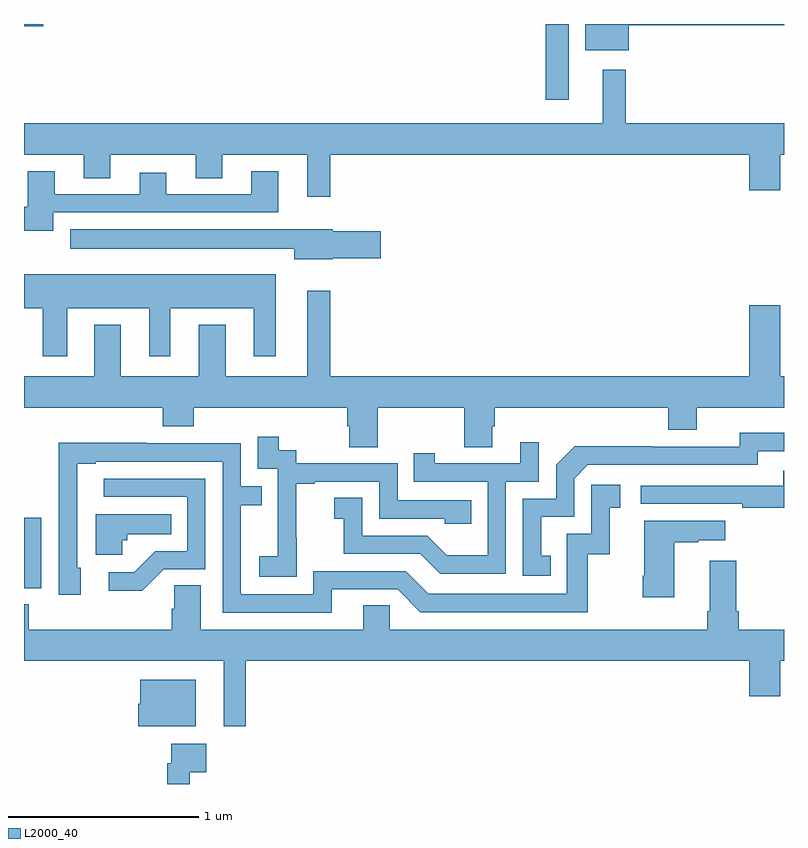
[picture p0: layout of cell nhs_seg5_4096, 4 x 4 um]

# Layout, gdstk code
import gdstk
lib = gdstk.Library(unit=1e-6, precision=1e-09)
def R(c, l, rs):  # rectangles x0, y0, x1, y1
    for r in rs: c.add(gdstk.rectangle(r[:2], r[2:], *l))
def P(c, l, *ps):  # polygons
    for p in ps: c.add(gdstk.Polygon(p, *l))
L2000_40 = (2000, 40)

nhs_seg5_4096 = lib.new_cell('nhs_seg5_4096')
R(nhs_seg5_4096, L2000_40, [(353,835.83,353.091,836.2), (355.746,838.401,355.867,838.799), (353,838.787,353.101,838.799)])
P(nhs_seg5_4096, L2000_40, [(356.182,838.792),(357,838.792),(357,838.799),(355.955,838.799),(355.955,838.661),(356.182,838.661)],
  [(354.613,838.112),(356.816,838.112),(356.816,837.924),(356.98,837.924),(356.98,838.112),(357,838.112),(357,838.276),(356.167,838.276),(356.167,838.558),(356.045,838.558),(356.045,838.276),(353,838.276),(353,838.112),(353.315,838.112),(353.315,837.988),(353.455,837.988),(353.455,838.112),(353.903,838.112),(353.903,837.988),(354.043,837.988),(354.043,838.112),(354.491,838.112),(354.491,837.891),(354.613,837.891)],
  [(353.155,837.807),(354.337,837.807),(354.337,838.024),(354.197,838.024),(354.197,837.903),(353.749,837.903),(353.749,838.015),(353.609,838.015),(353.609,837.903),(353.161,837.903),(353.161,838.024),(353.021,838.024),(353.021,837.838),(353,837.838),(353,837.71),(353.155,837.71)],
  [(354.624,837.566),(354.877,837.566),(354.877,837.708),(354.624,837.708),(354.624,837.718),(353.244,837.718),(353.244,837.617),(354.422,837.617),(354.422,837.56),(354.624,837.56)],
  [(353.227,837.302),(353.66,837.302),(353.66,837.051),(353.77,837.051),(353.77,837.302),(354.209,837.302),(354.209,837.051),(354.325,837.051),(354.325,837.481),(353,837.481),(353,837.302),(353.099,837.302),(353.099,837.051),(353.227,837.051)],
  [(354.861,836.78),(355.318,836.78),(355.318,836.572),(355.465,836.572),(355.465,836.682),(355.478,836.682),(355.478,836.78),(356.39,836.78),(356.39,836.663),(356.542,836.663),(356.542,836.78),(357,836.78),(357,836.944),(356.98,836.944),(356.98,837.319),(356.816,837.319),(356.816,836.944),(354.613,836.944),(354.613,837.394),(354.491,837.394),(354.491,836.944),(354.061,836.944),(354.061,837.217),(353.921,837.217),(353.921,836.944),(353.509,836.944),(353.509,837.217),(353.369,837.217),(353.369,836.944),(353,836.944),(353,836.78),(353.729,836.78),(353.729,836.681),(353.894,836.681),(353.894,836.78),(354.701,836.78),(354.701,836.682),(354.713,836.682),(354.713,836.572),(354.861,836.572)],
  [(355.772,836.001),(355.723,836.001),(355.723,836.205),(355.896,836.205),(355.896,836.406),(355.968,836.478),(356.862,836.478),(356.862,836.55),(357,836.55),(357,836.647),(356.766,836.647),(356.766,836.574),(356.306,836.574),(356.306,836.576),(355.898,836.576),(355.8,836.478),(355.8,836.301),(355.626,836.301),(355.626,835.896),(355.772,835.896)],
  [(354.435,836.095),(354.434,836.095),(354.434,836.379),(354.529,836.379),(354.529,836.391),(354.87,836.391),(354.87,836.196),(355.215,836.196),(355.215,836.169),(355.355,836.169),(355.355,836.292),(354.966,836.292),(354.966,836.487),(354.432,836.487),(354.432,836.556),(354.34,836.556),(354.34,836.626),(354.231,836.626),(354.231,836.457),(354.336,836.457),(354.336,836.228),(354.335,836.228),(354.335,835.999),(354.237,835.999),(354.237,835.889),(354.435,835.889)],
  [(355.536,836.391),(355.71,836.391),(355.71,836.599),(355.613,836.599),(355.613,836.487),(355.162,836.487),(355.162,836.539),(355.051,836.539),(355.051,836.391),(355.44,836.391),(355.44,836.002),(355.226,836.002),(355.122,836.106),(354.78,836.106),(354.78,836.305),(354.633,836.305),(354.633,836.195),(354.682,836.195),(354.682,836.01),(355.085,836.01),(355.19,835.905),(355.536,835.905)],
  [(354.619,835.824),(354.966,835.824),(355.086,835.704),(355.966,835.704),(355.966,836.007),(356.084,836.007),(356.084,836.253),(356.137,836.253),(356.137,836.374),(355.986,836.374),(355.986,836.115),(355.857,836.115),(355.857,835.8),(355.128,835.8),(355.008,835.92),(354.522,835.92),(354.522,835.797),(354.141,835.797),(354.141,836.266),(354.251,836.266),(354.251,836.367),(354.141,836.367),(354.141,836.592),(353.645,836.592),(353.645,836.594),(353.182,836.594),(353.182,836.287),(353.184,836.287),(353.184,835.794),(353.299,835.794),(353.299,835.938),(353.28,835.938),(353.28,836.484),(353.377,836.484),(353.377,836.496),(354.045,836.496),(354.045,835.701),(354.619,835.701)],
  [(357,836.449),(356.995,836.449),(356.995,836.37),(356.247,836.37),(356.247,836.274),(356.779,836.274),(356.779,836.254),(357,836.254)],
  [(353.736,835.929),(353.955,835.929),(353.955,836.406),(353.421,836.406),(353.421,836.31),(353.859,836.31),(353.859,836.025),(353.69,836.025),(353.579,835.914),(353.445,835.914),(353.445,835.817),(353.623,835.817)],
  [(353.517,836.082),(353.544,836.082),(353.544,836.114),(353.774,836.114),(353.774,836.218),(353.378,836.218),(353.378,836.006),(353.517,836.006)],
  [(356.422,836.071),(356.549,836.071),(356.549,836.081),(356.692,836.081),(356.692,836.185),(356.264,836.185),(356.264,835.894),(356.257,835.894),(356.257,835.782),(356.422,835.782)],
  [(354.167,835.448),(356.816,835.448),(356.816,835.26),(356.98,835.26),(356.98,835.448),(357,835.448),(357,835.612),(356.762,835.612),(356.762,835.708),(356.749,835.708),(356.749,835.975),(356.609,835.975),(356.609,835.708),(356.597,835.708),(356.597,835.612),(354.924,835.612),(354.924,835.739),(354.785,835.739),(354.785,835.612),(353.929,835.612),(353.929,835.844),(353.79,835.844),(353.79,835.721),(353.777,835.721),(353.777,835.612),(353.024,835.612),(353.024,835.745),(353,835.745),(353,835.448),(354.05,835.448),(354.05,835.104),(354.167,835.104)],
  [(353.905,835.348),(353.612,835.348),(353.612,835.221),(353.6,835.221),(353.6,835.103),(353.905,835.103)],
  [(353.873,834.86),(353.959,834.86),(353.959,835.012),(353.775,835.012),(353.775,834.908),(353.755,834.908),(353.755,834.799),(353.873,834.799)])

lib.write_gds('nhs_seg5_4096.gds')
